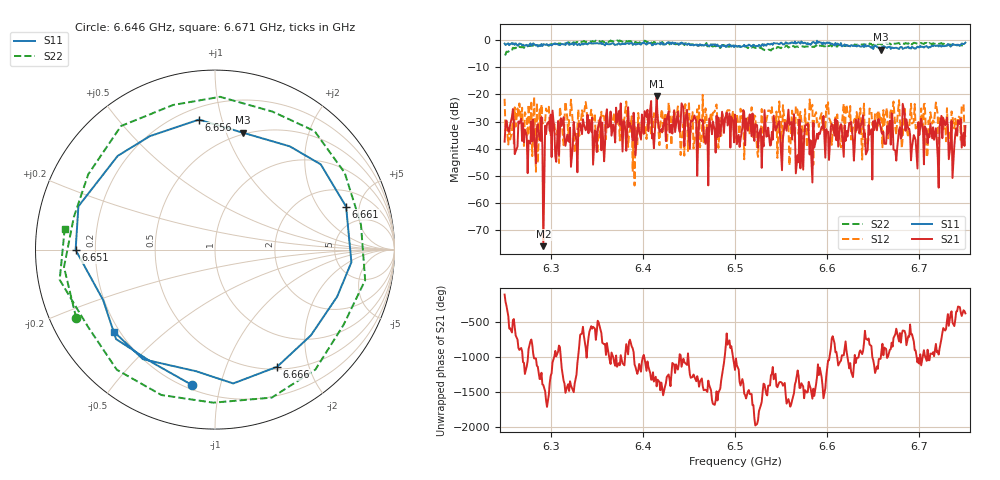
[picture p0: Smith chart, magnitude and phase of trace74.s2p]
# Hz S RI R 50
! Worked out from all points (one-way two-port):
!   401 points, 6.25 GHz to 6.75 GHz, reference 50 ohm
!   highest |S21| = -20.53 dB at 6.415 GHz (marker M1); lowest = -75.8 dB at 6.292 GHz (marker M2)
!   lowest |S11| = -3.5 dB at 6.658 GHz (marker M3), VSWR 5.05, Z = 24.3 + j57.3 ohm
!   |S11| at or under -10 dB: nowhere
!   |S22| runs from -5.5 to -0.2 dB; largest |S21 - S12| = 0.14
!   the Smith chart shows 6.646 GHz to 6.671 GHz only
!   S11 on the Smith chart (normalised r, x): 6.646 GHz: 0.22, -0.82; 6.651 GHz: 0.13, -0.00; 6.656 GHz: 0.27, +0.85; 6.661 GHz: 3.15, +3.68; 6.666 GHz: 0.53, -1.53; 6.671 GHz: 0.18, -0.35
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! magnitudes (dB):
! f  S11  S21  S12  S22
! 6.25 GHz  -1.3  -37.4  -21.6  -5.5
! 6.255 GHz  -1.9  -33.6  -31.6  -3.9
! 6.292 GHz  -1.6  -75.8  -30.9  -1.7
! 6.298 GHz  -2.0  -30.0  -24.5  -2.1
! 6.334 GHz  -1.3  -34.6  -25.9  -0.7
! 6.351 GHz  -1.1  -32.5  -41.8  -0.3
! 6.38 GHz  -1.3  -29.8  -29.0  -0.3
! 6.391 GHz  -1.2  -32.2  -53.5  -0.9
! 6.415 GHz  -1.4  -20.5  -27.1  -0.8
! 6.418 GHz  -1.4  -33.7  -38.7  -0.8
! 6.5 GHz  -2.0  -27.5  -37.0  -2.3
! 6.584 GHz  -0.9  -52.4  -23.8  -2.5
! 6.636 GHz  -2.5  -32.4  -25.1  -1.6
! 6.646 GHz  -2.3  -34.8  -25.2  -1.3
! 6.651 GHz  -2.2  -33.0  -33.6  -1.3
! 6.656 GHz  -2.7  -29.1  -26.1  -1.3
! 6.658 GHz  -3.5  -32.0  -30.0  -1.5
! 6.661 GHz  -2.3  -33.7  -25.8  -1.6
! 6.666 GHz  -2.6  -34.5  -36.9  -1.3
! 6.668 GHz  -2.5  -29.7  -29.1  -1.3
! 6.671 GHz  -2.8  -29.9  -25.7  -1.5
! 6.75 GHz  -1.0  -31.6  -35.6  -2.2
